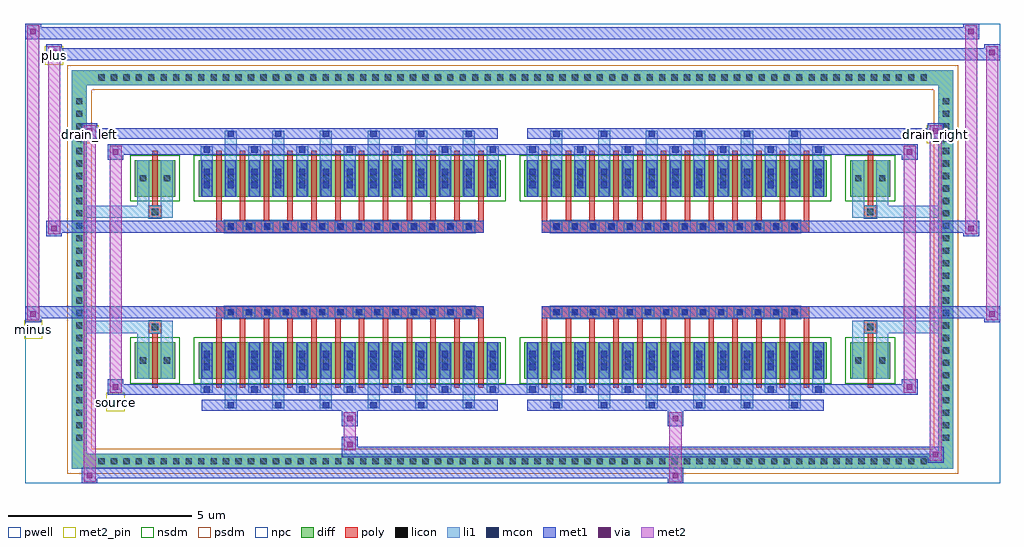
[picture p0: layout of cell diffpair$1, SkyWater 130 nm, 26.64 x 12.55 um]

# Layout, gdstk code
import gdstk
lib = gdstk.Library(unit=1e-6, precision=5e-09)
def R(c, l, rs):  # rectangles x0, y0, x1, y1
    for r in rs: c.add(gdstk.rectangle(r[:2], r[2:], *l))
def A(c, l, x, y, w, h, nx, ny, dx, dy):  # array of equal rectangles
    R(c, l, [(x+i*dx, y+j*dy, x+i*dx+w, y+j*dy+h) for i in range(nx) for j in range(ny)])
def P(c, l, *ps):  # polygons
    for p in ps: c.add(gdstk.Polygon(p, *l))
pwell = (64, 44)
diff = (65, 20)
poly = (66, 20)
licon = (66, 44)
li1 = (67, 20)
mcon = (67, 44)
met1 = (68, 20)
via = (68, 44)
met2_pin = (69, 16)
met2 = (69, 20)
nsdm = (93, 44)
psdm = (94, 20)
npc = (95, 20)

diffpair_1 = lib.new_cell('diffpair$1')
R(diffpair_1, pwell, [(-13.3,-5.84,13.3,6.71), (-10.62,-4.03,-0.01,-0.805), (0.01,-4.03,10.62,-0.805), (-10.62,0.805,-0.01,4.03), (0.01,0.805,10.62,4.03)])
A(diffpair_1, diff, -11.425, -5.44, 0.41, 0.41, 67, 2, 0.34, 10.47)
A(diffpair_1, diff, -12.03, -4.795, 0.41, 0.41, 1, 28, 0, 0.34)
A(diffpair_1, diff, 11.62, -4.795, 0.41, 0.41, 1, 28, 0, 0.34)
R(diffpair_1, diff, [(-11.425,-5.44,11.425,-5.03), (-12.03,-4.795,-11.62,4.795), (11.62,-4.795,12.03,4.795), (-10.31,-2.985,-9.21,-1.985), (-8.57,-2.985,-0.32,-1.985), (0.32,-2.985,8.57,-1.985), (9.21,-2.985,10.31,-1.985), (-10.31,1.985,-9.21,2.985), (-8.57,1.985,-0.32,2.985), (0.32,1.985,8.57,2.985), (9.21,1.985,10.31,2.985), (-11.425,5.03,11.425,5.44)])
P(diffpair_1, diff, [(12.03,5.44),(-12.03,5.44),(-12.03,-5.03),(-11.62,-5.03),(-11.62,5.03),(11.62,5.03),(11.62,-5.03),(-11.62,-5.03),(-12.03,-5.03),(-12.03,-5.44),(12.03,-5.44)])
A(diffpair_1, poly, -8.095, -3.235, 0.15, 1.5, 12, 2, 0.65, 4.97)
A(diffpair_1, poly, 0.795, -3.235, 0.15, 1.5, 12, 2, 0.65, 4.97)
A(diffpair_1, poly, -8.095, -1.735, 0.15, 0.4, 12, 2, 0.65, 3.07)
A(diffpair_1, poly, 0.795, -1.735, 0.15, 0.4, 12, 2, 0.65, 3.07)
A(diffpair_1, poly, -7.86, -1.335, 0.33, 0.33, 14, 2, 0.5, 2.34)
A(diffpair_1, poly, 1.03, -1.335, 0.33, 0.33, 14, 2, 0.5, 2.34)
R(diffpair_1, poly, [(-9.835,-3.235,-9.685,-1.735), (9.685,-3.235,9.835,-1.735), (-9.925,-1.735,-9.595,-1.405), (-9.925,-1.735,-9.595,-1.405), (9.595,-1.735,9.925,-1.405), (9.595,-1.735,9.925,-1.405), (-8.095,-1.335,-0.795,-1.005), (0.795,-1.335,8.095,-1.005), (-8.095,1.005,-0.795,1.335), (0.795,1.005,8.095,1.335), (-9.925,1.405,-9.595,1.735), (-9.925,1.405,-9.595,1.735), (9.595,1.405,9.925,1.735), (9.595,1.405,9.925,1.735), (-9.835,1.735,-9.685,3.235), (9.685,1.735,9.835,3.235)])
A(diffpair_1, licon, -11.305, -5.32, 0.17, 0.17, 67, 2, 0.34, 10.47)
A(diffpair_1, licon, -11.91, -4.675, 0.17, 0.17, 1, 28, 0, 0.34)
A(diffpair_1, licon, 11.74, -4.675, 0.17, 0.17, 1, 28, 0, 0.34)
A(diffpair_1, licon, -8.43, -2.57, 0.17, 0.17, 13, 2, 0.65, 4.97)
A(diffpair_1, licon, 0.46, -2.57, 0.17, 0.17, 13, 2, 0.65, 4.97)
A(diffpair_1, licon, -7.78, -1.255, 0.17, 0.17, 14, 2, 0.5, 2.34)
A(diffpair_1, licon, 1.11, -1.255, 0.17, 0.17, 14, 2, 0.5, 2.34)
R(diffpair_1, licon, [(-10.17,-2.57,-10,-2.4), (-9.52,-2.57,-9.35,-2.4), (9.35,-2.57,9.52,-2.4), (10,-2.57,10.17,-2.4), (-9.845,-1.655,-9.675,-1.485), (9.675,-1.655,9.845,-1.485), (-9.845,1.485,-9.675,1.655), (9.675,1.485,9.845,1.655), (-10.17,2.4,-10,2.57), (-9.52,2.4,-9.35,2.57), (9.35,2.4,9.52,2.57), (10,2.4,10.17,2.57)])
A(diffpair_1, li1, -11.385, -5.4, 0.33, 0.33, 67, 2, 0.34, 10.47)
A(diffpair_1, li1, -11.99, -4.755, 0.33, 0.33, 1, 28, 0, 0.34)
A(diffpair_1, li1, 11.66, -4.755, 0.33, 0.33, 1, 28, 0, 0.34)
A(diffpair_1, li1, -7.86, -3.79, 0.33, 0.805, 6, 2, 1.3, 6.775)
A(diffpair_1, li1, -7.78, -3.79, 0.17, 0.17, 6, 2, 1.3, 7.41)
A(diffpair_1, li1, 1.03, -3.79, 0.33, 0.805, 6, 2, 1.3, 6.775)
A(diffpair_1, li1, 1.11, -3.79, 0.17, 0.17, 6, 2, 1.3, 7.41)
A(diffpair_1, li1, -8.51, -3.36, 0.33, 0.375, 7, 2, 1.3, 6.345)
A(diffpair_1, li1, -8.43, -3.36, 0.17, 0.17, 7, 2, 1.3, 6.55)
A(diffpair_1, li1, 0.38, -3.36, 0.33, 0.375, 7, 2, 1.3, 6.345)
A(diffpair_1, li1, 0.46, -3.36, 0.17, 0.17, 7, 2, 1.3, 6.55)
A(diffpair_1, li1, -8.51, -2.985, 0.33, 1, 13, 2, 0.65, 4.97)
A(diffpair_1, li1, 0.38, -2.985, 0.33, 1, 13, 2, 0.65, 4.97)
A(diffpair_1, li1, -8.43, -2.75, 0.17, 0.17, 13, 2, 0.65, 0.36)
A(diffpair_1, li1, -8.43, -2.75, 0.17, 0.53, 13, 2, 0.65, 4.97)
A(diffpair_1, li1, 0.46, -2.75, 0.17, 0.17, 13, 2, 0.65, 0.36)
A(diffpair_1, li1, 0.46, -2.75, 0.17, 0.53, 13, 2, 0.65, 4.97)
A(diffpair_1, li1, -8.51, -2.65, 0.33, 0.33, 13, 2, 0.65, 4.97)
A(diffpair_1, li1, 0.38, -2.65, 0.33, 0.33, 13, 2, 0.65, 4.97)
A(diffpair_1, li1, -7.86, -1.335, 0.33, 0.33, 14, 2, 0.5, 2.34)
A(diffpair_1, li1, 1.03, -1.335, 0.33, 0.33, 14, 2, 0.5, 2.34)
A(diffpair_1, li1, -8.43, 2.22, 0.17, 0.17, 13, 2, 0.65, 0.36)
A(diffpair_1, li1, 0.46, 2.22, 0.17, 0.17, 13, 2, 0.65, 0.36)
R(diffpair_1, li1, [(-12.03,-5.44,-11.62,-5.03), (-12.03,-5.44,-11.62,-5.03), (-11.62,-5.44,11.62,-5.03), (11.62,-5.44,12.03,-5.03), (11.62,-5.44,12.03,-5.03), (-12.03,-5.03,-11.62,5.03), (11.62,-5.03,12.03,5.03), (-10.25,-2.985,-9.92,-1.985), (-9.6,-2.985,-9.27,-1.985), (9.27,-2.985,9.6,-1.985), (9.92,-2.985,10.25,-1.985), (-10.25,-2.65,-9.92,-2.32), (-9.6,-2.65,-9.27,-2.32), (9.27,-2.65,9.6,-2.32), (9.92,-2.65,10.25,-2.32), (-10.25,-1.985,-9.92,-1.405), (-9.6,-1.985,-9.27,-1.405), (9.27,-1.985,9.6,-1.405), (9.92,-1.985,10.25,-1.405), (-12.03,-1.735,-9.925,-1.405), (-10.25,-1.735,-9.925,-1.405), (-9.925,-1.735,-9.595,-1.405), (-9.595,-1.735,-9.27,-1.405), (9.27,-1.735,9.595,-1.405), (9.595,-1.735,9.925,-1.405), (9.595,-1.735,12.03,-1.405), (9.925,-1.735,10.25,-1.405), (-12.03,1.405,-9.925,1.735), (-10.25,1.405,-9.925,1.735), (-10.25,1.405,-9.92,1.985), (-9.925,1.405,-9.595,1.735), (-9.6,1.405,-9.27,1.985), (-9.595,1.405,-9.27,1.735), (9.27,1.405,9.595,1.735), (9.27,1.405,9.6,1.985), (9.595,1.405,9.925,1.735), (9.595,1.405,12.03,1.735), (9.92,1.405,10.25,1.985), (9.925,1.405,10.25,1.735), (-10.25,1.985,-9.92,2.985), (-9.6,1.985,-9.27,2.985), (9.27,1.985,9.6,2.985), (9.92,1.985,10.25,2.985), (-10.25,2.32,-9.92,2.65), (-9.6,2.32,-9.27,2.65), (9.27,2.32,9.6,2.65), (9.92,2.32,10.25,2.65), (-12.03,5.03,-11.62,5.44), (-12.03,5.03,-11.62,5.44), (-11.62,5.03,11.62,5.44), (11.62,5.03,12.03,5.44), (11.62,5.03,12.03,5.44)])
A(diffpair_1, mcon, -7.78, -3.79, 0.17, 0.17, 6, 2, 1.3, 7.41)
A(diffpair_1, mcon, 1.11, -3.79, 0.17, 0.17, 6, 2, 1.3, 7.41)
A(diffpair_1, mcon, -8.43, -3.36, 0.17, 0.17, 7, 2, 1.3, 6.55)
A(diffpair_1, mcon, 0.46, -3.36, 0.17, 0.17, 7, 2, 1.3, 6.55)
A(diffpair_1, mcon, -8.43, -2.75, 0.17, 0.17, 13, 2, 0.65, 0.36)
A(diffpair_1, mcon, 0.46, -2.75, 0.17, 0.17, 13, 2, 0.65, 0.36)
A(diffpair_1, mcon, -7.78, -1.255, 0.17, 0.17, 14, 2, 0.5, 2.34)
A(diffpair_1, mcon, 1.11, -1.255, 0.17, 0.17, 14, 2, 0.5, 2.34)
A(diffpair_1, mcon, -8.43, 2.22, 0.17, 0.17, 13, 2, 0.65, 0.36)
A(diffpair_1, mcon, 0.46, 2.22, 0.17, 0.17, 13, 2, 0.65, 0.36)
A(diffpair_1, met1, -7.84, -3.85, 0.29, 0.29, 6, 2, 1.3, 7.41)
A(diffpair_1, met1, 1.05, -3.85, 0.29, 0.29, 6, 2, 1.3, 7.41)
A(diffpair_1, met1, -8.49, -3.42, 0.29, 0.29, 7, 2, 1.3, 6.55)
A(diffpair_1, met1, 0.4, -3.42, 0.29, 0.29, 7, 2, 1.3, 6.55)
A(diffpair_1, met1, -8.49, -2.985, 0.29, 1, 13, 2, 0.65, 4.97)
A(diffpair_1, met1, 0.4, -2.985, 0.29, 1, 13, 2, 0.65, 4.97)
A(diffpair_1, met1, -8.49, -2.81, 0.29, 0.29, 13, 2, 0.65, 0.36)
A(diffpair_1, met1, 0.4, -2.81, 0.29, 0.29, 13, 2, 0.65, 0.36)
A(diffpair_1, met1, -7.84, -1.315, 0.29, 0.29, 14, 2, 0.5, 2.34)
A(diffpair_1, met1, 1.05, -1.315, 0.29, 0.29, 14, 2, 0.5, 2.34)
A(diffpair_1, met1, -8.49, 2.16, 0.29, 0.29, 13, 2, 0.65, 0.36)
A(diffpair_1, met1, 0.4, 2.16, 0.29, 0.29, 13, 2, 0.65, 0.36)
R(diffpair_1, met1, [(-11.76,-5.84,-11.33,-5.41), (4.23,-5.84,4.66,-5.41), (-11.76,-5.7,4.66,-5.41), (11.33,-5.27,11.76,-4.84), (-4.66,-5.13,11.76,-4.84), (-4.66,-4.99,-4.23,-4.56), (-4.66,-4.28,-4.23,-3.85), (4.23,-4.28,4.66,-3.85), (-8.49,-3.85,-0.4,-3.56), (0.4,-3.85,8.49,-3.56), (-11.05,-3.42,-10.62,-2.99), (-11.05,-3.42,-8.49,-3.13), (-8.49,-3.42,-0.4,-3.13), (-0.4,-3.42,0.4,-3.13), (0.4,-3.42,8.49,-3.13), (8.49,-3.42,11.05,-3.13), (10.62,-3.42,11.05,-2.99), (-13.3,-1.435,-12.87,-1.005), (12.87,-1.435,13.3,-1.005), (-13.3,-1.335,-0.795,-1.005), (-8.095,-1.335,-0.795,-1.005), (0.795,-1.335,8.095,-1.005), (0.795,-1.335,13.3,-1.005), (-12.73,0.905,-12.3,1.335), (12.3,0.905,12.73,1.335), (-12.73,1.005,-8.095,1.335), (-8.095,1.005,-0.795,1.335), (0.795,1.005,8.095,1.335), (8.095,1.005,12.73,1.335), (-11.05,2.99,-10.62,3.42), (10.62,2.99,11.05,3.42), (-11.05,3.13,-8.49,3.42), (-8.49,3.13,-0.4,3.42), (-0.4,3.13,0.4,3.42), (0.4,3.13,8.49,3.42), (8.49,3.13,11.05,3.42), (-11.76,3.56,-11.33,3.99), (-11.76,3.56,-8.49,3.85), (-8.49,3.56,-0.4,3.85), (0.4,3.56,8.49,3.85), (8.49,3.56,11.76,3.85), (11.33,3.56,11.76,3.99), (-12.73,5.71,-12.3,6.14), (-12.73,5.71,-10.62,6.04), (-10.62,5.71,10.62,6.04), (10.62,5.71,13.3,6.04), (12.87,5.71,13.3,6.14), (-13.3,6.28,-12.87,6.71), (-13.3,6.28,-10.62,6.61), (-10.62,6.28,10.62,6.61), (10.62,6.28,12.73,6.61), (12.3,6.28,12.73,6.71)])
R(diffpair_1, via, [(-11.62,-5.7,-11.47,-5.55), (4.37,-5.7,4.52,-5.55), (11.47,-5.13,11.62,-4.98), (-4.52,-4.85,-4.37,-4.7), (-4.52,-4.14,-4.37,-3.99), (4.37,-4.14,4.52,-3.99), (-10.91,-3.28,-10.76,-3.13), (10.76,-3.28,10.91,-3.13), (-13.16,-1.295,-13.01,-1.145), (13.01,-1.295,13.16,-1.145), (-12.59,1.045,-12.44,1.195), (12.44,1.045,12.59,1.195), (-10.91,3.13,-10.76,3.28), (10.76,3.13,10.91,3.28), (-11.62,3.7,-11.47,3.85), (11.47,3.7,11.62,3.85), (-12.59,5.85,-12.44,6), (13.01,5.85,13.16,6), (-13.16,6.42,-13.01,6.57), (12.44,6.42,12.59,6.57)])
R(diffpair_1, met2_pin, [(-11.085,-3.87,-10.585,-3.37), (-13.335,-1.885,-12.835,-1.385), (-11.795,3.44,-11.295,3.94), (11.295,3.44,11.795,3.94), (-12.765,5.59,-12.265,6.09)])
R(diffpair_1, met2, [(-11.71,-5.79,-11.38,-5.46), (-11.71,-5.79,-11.38,3.94), (4.28,-5.79,4.61,-5.46), (4.28,-5.46,4.61,-4.23), (11.38,-5.22,11.71,-4.89), (11.38,-5.22,11.71,3.94), (-4.61,-4.94,-4.28,-4.61), (-4.61,-4.61,-4.28,-4.23), (-4.61,-4.23,-4.28,-3.9), (4.28,-4.23,4.61,-3.9), (-11,-3.37,-10.67,-3.04), (-11,-3.37,-10.67,3.37), (10.67,-3.37,11,-3.04), (10.67,-3.37,11,3.37), (-13.25,-1.385,-12.92,-1.055), (-13.25,-1.385,-12.92,6.66), (12.92,-1.385,13.25,-1.055), (12.92,-1.385,13.25,6.09), (-12.68,0.955,-12.35,1.285), (-12.68,0.955,-12.35,6.09), (12.35,0.955,12.68,1.285), (12.35,0.955,12.68,6.66), (-11,3.04,-10.67,3.37), (10.67,3.04,11,3.37), (-11.71,3.61,-11.38,3.94), (11.38,3.61,11.71,3.94), (-12.68,5.76,-12.35,6.09), (12.92,5.76,13.25,6.09), (-13.25,6.33,-12.92,6.66), (12.35,6.33,12.68,6.66)])
P(diffpair_1, met2, [(13.25,-1.385),(13.25,-1.385),(13.25,-1.055),(13.25,-1.055)],
  [(13.25,5.76),(13.25,5.76),(13.25,6.09),(13.25,6.09)],
  [(-12.92,-1.385),(-12.92,-1.385),(-12.92,-1.055),(-12.92,-1.055)],
  [(-12.92,6.33),(-12.92,6.33),(-12.92,6.66),(-12.92,6.66)],
  [(12.68,0.955),(12.68,0.955),(12.68,1.285),(12.68,1.285)],
  [(12.68,6.33),(12.68,6.33),(12.68,6.66),(12.68,6.66)],
  [(-12.35,0.955),(-12.35,0.955),(-12.35,1.285),(-12.35,1.285)],
  [(-12.35,5.76),(-12.35,5.76),(-12.35,6.09),(-12.35,6.09)],
  [(-11.38,-5.79),(-11.38,-5.79),(-11.38,-5.46),(-11.38,-5.46)],
  [(-11.38,3.61),(-11.38,3.61),(-11.38,3.94),(-11.38,3.94)],
  [(11.71,-5.22),(11.71,-5.22),(11.71,-4.89),(11.71,-4.89)],
  [(11.71,3.61),(11.71,3.61),(11.71,3.94),(11.71,3.94)],
  [(-10.67,-3.37),(-10.67,-3.37),(-10.67,-3.04),(-10.67,-3.04)],
  [(-10.67,3.04),(-10.67,3.04),(-10.67,3.37),(-10.67,3.37)],
  [(11,-3.37),(11,-3.37),(11,-3.04),(11,-3.04)],
  [(11,3.04),(11,3.04),(11,3.37),(11,3.37)])
R(diffpair_1, nsdm, [(-10.44,-3.115,-9.08,-1.855), (-8.7,-3.115,-0.19,-1.855), (0.19,-3.115,8.7,-1.855), (9.08,-3.115,10.44,-1.855), (-10.44,1.855,-9.08,3.115), (-8.7,1.855,-0.19,3.115), (0.19,1.855,8.7,3.115), (9.08,1.855,10.44,3.115)])
P(diffpair_1, psdm, [(12.16,5.57),(-12.16,5.57),(-12.16,-4.9),(-11.49,-4.9),(-11.49,4.9),(11.49,4.9),(11.49,-4.9),(-11.49,-4.9),(-12.16,-4.9),(-12.16,-5.57),(12.16,-5.57)])
A(diffpair_1, npc, -7.88, -1.355, 0.37, 0.37, 14, 2, 0.5, 2.34)
A(diffpair_1, npc, 1.01, -1.355, 0.37, 0.37, 14, 2, 0.5, 2.34)
R(diffpair_1, npc, [(-9.945,-1.755,-9.575,-1.385), (9.575,-1.755,9.945,-1.385), (-7.88,-1.355,-7.01,-0.985), (-7.88,-1.355,-7.01,-0.985), (-7.38,-1.355,-6.51,-0.985), (-7.38,-1.355,-6.51,-0.985), (-6.88,-1.355,-6.01,-0.985), (-6.88,-1.355,-6.01,-0.985), (-6.38,-1.355,-5.51,-0.985), (-6.38,-1.355,-5.51,-0.985), (-5.88,-1.355,-5.01,-0.985), (-5.88,-1.355,-5.01,-0.985), (-5.38,-1.355,-4.51,-0.985), (-5.38,-1.355,-4.51,-0.985), (-4.88,-1.355,-4.01,-0.985), (-4.88,-1.355,-4.01,-0.985), (-4.38,-1.355,-3.51,-0.985), (-4.38,-1.355,-3.51,-0.985), (-3.88,-1.355,-3.01,-0.985), (-3.88,-1.355,-3.01,-0.985), (-3.38,-1.355,-2.51,-0.985), (-3.38,-1.355,-2.51,-0.985), (-2.88,-1.355,-2.01,-0.985), (-2.88,-1.355,-2.01,-0.985), (-2.38,-1.355,-1.51,-0.985), (-2.38,-1.355,-1.51,-0.985), (-1.88,-1.355,-1.01,-0.985), (-1.88,-1.355,-1.01,-0.985), (1.01,-1.355,1.88,-0.985), (1.01,-1.355,1.88,-0.985), (1.51,-1.355,2.38,-0.985), (1.51,-1.355,2.38,-0.985), (2.01,-1.355,2.88,-0.985), (2.01,-1.355,2.88,-0.985), (2.51,-1.355,3.38,-0.985), (2.51,-1.355,3.38,-0.985), (3.01,-1.355,3.88,-0.985), (3.01,-1.355,3.88,-0.985), (3.51,-1.355,4.38,-0.985), (3.51,-1.355,4.38,-0.985), (4.01,-1.355,4.88,-0.985), (4.01,-1.355,4.88,-0.985), (4.51,-1.355,5.38,-0.985), (4.51,-1.355,5.38,-0.985), (5.01,-1.355,5.88,-0.985), (5.01,-1.355,5.88,-0.985), (5.51,-1.355,6.38,-0.985), (5.51,-1.355,6.38,-0.985), (6.01,-1.355,6.88,-0.985), (6.01,-1.355,6.88,-0.985), (6.51,-1.355,7.38,-0.985), (6.51,-1.355,7.38,-0.985), (7.01,-1.355,7.88,-0.985), (7.01,-1.355,7.88,-0.985), (-7.88,0.985,-7.01,1.355), (-7.88,0.985,-7.01,1.355), (-7.38,0.985,-6.51,1.355), (-7.38,0.985,-6.51,1.355), (-6.88,0.985,-6.01,1.355), (-6.88,0.985,-6.01,1.355), (-6.38,0.985,-5.51,1.355), (-6.38,0.985,-5.51,1.355), (-5.88,0.985,-5.01,1.355), (-5.88,0.985,-5.01,1.355), (-5.38,0.985,-4.51,1.355), (-5.38,0.985,-4.51,1.355), (-4.88,0.985,-4.01,1.355), (-4.88,0.985,-4.01,1.355), (-4.38,0.985,-3.51,1.355), (-4.38,0.985,-3.51,1.355), (-3.88,0.985,-3.01,1.355), (-3.88,0.985,-3.01,1.355), (-3.38,0.985,-2.51,1.355), (-3.38,0.985,-2.51,1.355), (-2.88,0.985,-2.01,1.355), (-2.88,0.985,-2.01,1.355), (-2.38,0.985,-1.51,1.355), (-2.38,0.985,-1.51,1.355), (-1.88,0.985,-1.01,1.355), (-1.88,0.985,-1.01,1.355), (1.01,0.985,1.88,1.355), (1.01,0.985,1.88,1.355), (1.51,0.985,2.38,1.355), (1.51,0.985,2.38,1.355), (2.01,0.985,2.88,1.355), (2.01,0.985,2.88,1.355), (2.51,0.985,3.38,1.355), (2.51,0.985,3.38,1.355), (3.01,0.985,3.88,1.355), (3.01,0.985,3.88,1.355), (3.51,0.985,4.38,1.355), (3.51,0.985,4.38,1.355), (4.01,0.985,4.88,1.355), (4.01,0.985,4.88,1.355), (4.51,0.985,5.38,1.355), (4.51,0.985,5.38,1.355), (5.01,0.985,5.88,1.355), (5.01,0.985,5.88,1.355), (5.51,0.985,6.38,1.355), (5.51,0.985,6.38,1.355), (6.01,0.985,6.88,1.355), (6.01,0.985,6.88,1.355), (6.51,0.985,7.38,1.355), (6.51,0.985,7.38,1.355), (7.01,0.985,7.88,1.355), (7.01,0.985,7.88,1.355), (-9.945,1.385,-9.575,1.755), (9.575,1.385,9.945,1.755)])
diffpair_1.add(gdstk.Label('minus', (-13.085,-1.635), layer=69, texttype=5))
diffpair_1.add(gdstk.Label('drain_right', (11.545,3.69), layer=69, texttype=5))
diffpair_1.add(gdstk.Label('drain_left', (-11.545,3.69), layer=69, texttype=5))
diffpair_1.add(gdstk.Label('source', (-10.835,-3.62), layer=69, texttype=5))
diffpair_1.add(gdstk.Label('plus', (-12.515,5.84), layer=69, texttype=5))

lib.write_gds('diffpair_1.gds')
